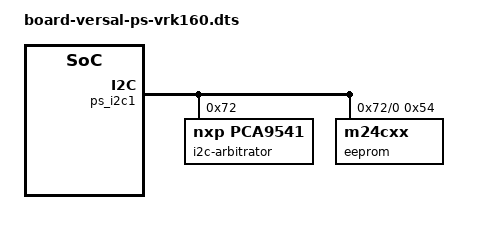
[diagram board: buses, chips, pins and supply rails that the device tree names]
/*
 * Versal VRK160 board device tree
 *
 * Copyright (c) 2024, Advanced Micro Devices Inc.
 * All rights reserved.
 *
 * SPDX-License-Identifier: BSD-3-Clause
 */

#include "board-versal-xcvr1602-ps-virt.dts"

/ {
	/* Board has 16GByte of DDR5 */
	MEM_REGION(ddr, 0x0, MM_TOP_DDR_2_L, 0x00000000, 0x80000000, &ddr_mem) // 2GB
	MEM_REGION64_DDR(ddr2, MM_TOP_DDR_2_H, MM_TOP_DDR_2_L, MM_TOP_DDR_2,
			0x00000000,  0x80000000, &ddr_2_mem) // 2GB
	MEM_REGION64_DDR(c1_ddr, MM_TOP_DDR_CH1_H, MM_TOP_DDR_CH1_L, MM_TOP_DDR_CH1,
			0x00000001,  0x00000000, &ddr_3_mem) // 4GB
	MEM_REGION64_DDR(c2_ddr, MM_TOP_DDR_CH2_H, MM_TOP_DDR_CH2_L, MM_TOP_DDR_CH2,
			0x00000001,  0x00000000, &ddr_3_mem) // 4GB
	MEM_REGION64_DDR(c3_ddr, MM_TOP_DDR_CH3_H, MM_TOP_DDR_CH3_L, MM_TOP_DDR_CH3,
			0x00000001,  0x00000000, &ddr_3_mem) // 4GB

};

/* No SPI nor QSPI have any memories mapped.  */
&spi0 {
	/delete-node/ spi0_flash0@0;
};

&spi1 {
	/delete-node/ spi1_flash0@0;
};

&pmc_qspi_0 {
	/delete-node/ qspi_flash_lcs_lb@0;
	/delete-node/ qspi_flash_lcs_ub@0;
	/delete-node/ qspi_flash_ucs_lb@0;
	/delete-node/ qspi_flash_ucs_ub@0;
};

/* Attach only one OSPI Flash */
&ospi {
	/delete-node/ ospi_flash_lcs_ub@0;
	/delete-node/ ospi_flash_ucs_lb@0;
	/delete-node/ ospi_flash_ucs_ub@0;
};

&ospi_flash_lcs_lb {
	compatible = "mt35xu02gbba";
};

&mdio0 {
	/delete-node/ phy@2;

};

&gem0 {
	mdio = <&mdio0>;
};

&ps_i2c1 {
	i2c-arbitrator@72 {
		#address-cells = <1>;
		#size-cells = <0>;
		compatible = "nxp,pca9541";
		reg = <0x72>;
		i2c@0 {
			#address-cells = <1>;
			#size-cells = <0>;
			reg = <0>;
			eeprom@54 {
				compatible = "m24cxx";
				size = <0x4000>;
				reg = <0x54>;
				blockdev-node-name = "ps_i2c1.eeprom-54";
			};
		};
	};
};
